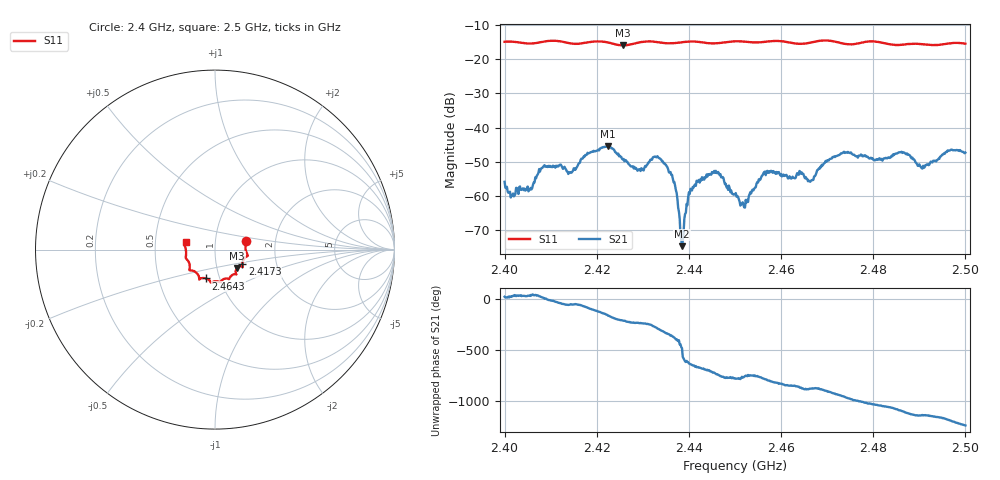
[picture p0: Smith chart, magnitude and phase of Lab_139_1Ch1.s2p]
# Hz S RI R 50
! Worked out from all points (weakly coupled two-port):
!   601 points, 2.4 GHz to 2.5 GHz, reference 50 ohm
!   highest |S21| = -45.44 dB at 2.4225 GHz (marker M1); lowest = -74.7 dB at 2.4385 GHz (marker M2)
!   lowest |S11| = -15.9 dB at 2.4257 GHz (marker M3), VSWR 1.38, Z = 62.4 - j13.1 ohm
!   |S11| at or under -10 dB: start of sweep to end of sweep
!   S12 and S22 are empty: the file has one direction only
!   S11 on the Smith chart (normalised r, x): 2.4 GHz: 1.41, +0.14; 2.4173 GHz: 1.34, -0.23; 2.4643 GHz: 0.86, -0.28; 2.5 GHz: 0.72, +0.06
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2.4e9  0.1734 0.0496  0.00148 0.000622  0 0  0 0
2.401833e9  0.1755 0.0421  0.00092 0.000574  0 0  0 0
2.408333e9  0.1795 -0.0235  0.00259 0.000591  0 0  0 0
2.416667e9  0.1529 -0.0747  0.00167 -0.00308  0 0  0 0
2.417333e9  0.1523 -0.0821  0.00102 -0.0036  0 0  0 0
2.4225e9  0.1488 -0.0937  -0.00513 -0.0015  0 0  0 0
2.425667e9  0.1224 -0.1023  -0.00293 0.00175  0 0  0 0
2.433333e9  0.1129 -0.1367  0.0014 0.0034  0 0  0 0
2.4365e9  0.0907 -0.1459  0.00178 -0.00023  0 0  0 0
2.4385e9  0.0817 -0.1573  -9.42e-05 -0.000158  0 0  0 0
2.44e9  0.0798 -0.1632  7.74e-06 0.00113  0 0  0 0
2.442167e9  0.0741 -0.1633  0.00114 0.00128  0 0  0 0
2.446e9  0.0473 -0.1648  0.00209 -0.000632  0 0  0 0
2.45e9  0.0297 -0.181  0.000609 -0.000858  0 0  0 0
2.451667e9  0.0243 -0.1803  0.000541 -0.000596  0 0  0 0
2.4565e9  -0.0104 -0.1798  0.000981 -0.00204  0 0  0 0
2.464333e9  -0.0501 -0.1606  -0.00176 -0.00116  0 0  0 0
2.466667e9  -0.0764 -0.1598  -0.00156 -0.000683  0 0  0 0
2.473333e9  -0.0929 -0.1431  -0.00276 0.00324  0 0  0 0
2.483333e9  -0.1408 -0.0894  0.00339 0.00142  0 0  0 0
2.490667e9  -0.1622 -0.0369  0.00147 -0.00204  0 0  0 0
2.5e9  -0.1637 0.0421  -0.00396 -0.00169  0 0  0 0
